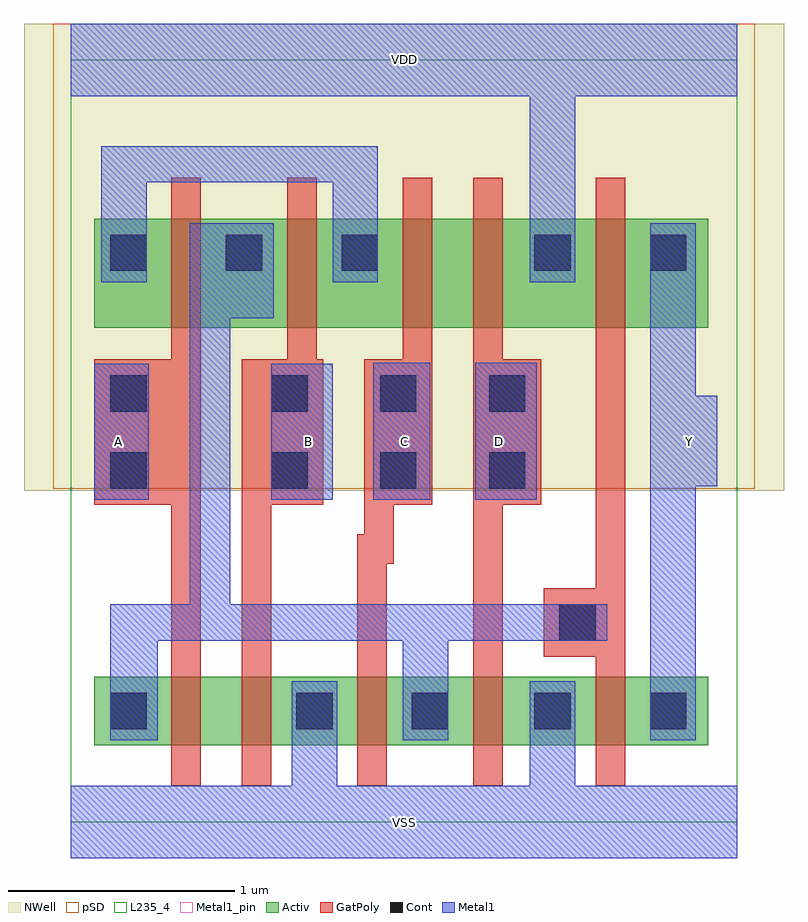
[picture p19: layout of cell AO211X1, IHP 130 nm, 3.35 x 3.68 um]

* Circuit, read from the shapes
.subckt AO211X1 A B C D VDD VSS Y
XM1 n1 A n2 VSUBS sg13_lv_nmos w=0.3u l=0.13u
XM2 VSS B n1 VSUBS sg13_lv_nmos w=0.3u l=0.13u
XM3 n2 C VSS VSUBS sg13_lv_nmos w=0.3u l=0.13u
XM4 VSS D n2 VSUBS sg13_lv_nmos w=0.3u l=0.13u
XM5 Y n2 VSS VSUBS sg13_lv_nmos w=0.3u l=0.13u
XM6 n2 A n3 n4 sg13_lv_pmos w=0.48u l=0.13u
XM7 n3 B n2 n4 sg13_lv_pmos w=0.48u l=0.13u
XM8 n5 C n3 n4 sg13_lv_pmos w=0.48u l=0.13u
XM9 VDD D n5 n4 sg13_lv_pmos w=0.48u l=0.13u
XM10 Y n2 VDD n4 sg13_lv_pmos w=0.48u l=0.13u
.ends

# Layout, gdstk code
import gdstk
lib = gdstk.Library(unit=1e-6, precision=1e-09)
def R(c, l, rs):  # rectangles x0, y0, x1, y1
    for r in rs: c.add(gdstk.rectangle(r[:2], r[2:], *l))
def A(c, l, x, y, w, h, nx, ny, dx, dy):  # array of equal rectangles
    R(c, l, [(x+i*dx, y+j*dy, x+i*dx+w, y+j*dy+h) for i in range(nx) for j in range(ny)])
def P(c, l, *ps):  # polygons
    for p in ps: c.add(gdstk.Polygon(p, *l))
Activ = (1, 0)
GatPoly = (5, 0)
Cont = (6, 0)
Metal1 = (8, 0)
Metal1_pin = (8, 2)
pSD = (14, 0)
NWell = (31, 0)
L235_4 = (235, 4)

ao211x1 = lib.new_cell('AO211X1')
R(ao211x1, Activ, [(0.105,0.34,2.81,0.64), (0.105,2.18,2.81,2.66)])
P(ao211x1, GatPoly, [(2.075,2.04),(1.905,2.04),(1.905,2.84),(1.775,2.84),(1.775,0.16),(1.905,0.16),(1.905,1.4),(2.075,1.4)],
  [(1.595,2.84),(1.465,2.84),(1.465,2.04),(1.295,2.04),(1.295,1.27),(1.265,1.27),(1.265,0.16),(1.395,0.16),(1.395,1.14),(1.425,1.14),(1.425,1.4),(1.595,1.4)],
  [(1.115,2.04),(1.085,2.04),(1.085,2.84),(0.955,2.84),(0.955,2.04),(0.755,2.04),(0.755,0.16),(0.885,0.16),(0.885,1.4),(1.115,1.4)],
  [(0.575,2.84),(0.445,2.84),(0.445,2.04),(0.105,2.04),(0.105,1.4),(0.445,1.4),(0.445,0.16),(0.575,0.16)],
  [(2.445,2.84),(2.315,2.84),(2.315,1.03),(2.085,1.03),(2.085,0.73),(2.315,0.73),(2.315,0.16),(2.445,0.16)])
A(ao211x1, Cont, 0.885, 1.47, 0.16, 0.16, 3, 2, 0.48, 0.34)
A(ao211x1, Cont, 0.175, 2.43, 0.16, 0.16, 3, 1, 0.51, 0)
R(ao211x1, Cont, [(0.175,0.41,0.335,0.57), (0.995,0.41,1.155,0.57), (1.505,0.41,1.665,0.57), (2.045,0.41,2.205,0.57), (2.555,0.41,2.715,0.57), (2.155,0.8,2.315,0.96), (0.175,1.47,0.335,1.63), (0.175,1.81,0.335,1.97), (2.045,2.43,2.205,2.59), (2.555,2.43,2.715,2.59)])
R(ao211x1, Metal1, [(0.105,1.42,0.345,2.02), (0.885,1.42,1.155,2.02), (1.335,1.42,1.585,2.025), (1.785,1.42,2.055,2.025)])
P(ao211x1, Metal1, [(2.94,0.16),(2.225,0.16),(2.225,0.62),(2.025,0.62),(2.025,0.16),(1.175,0.16),(1.175,0.62),(0.975,0.62),(0.975,0.16),(0,0.16),(0,-0.16),(2.94,-0.16)],
  [(2.85,1.88),(2.755,1.88),(2.755,2.64),(2.555,2.64),(2.555,0.36),(2.755,0.36),(2.755,1.48),(2.85,1.48)],
  [(2.94,3.52),(0,3.52),(0,3.2),(2.025,3.2),(2.025,2.38),(2.225,2.38),(2.225,3.2),(2.94,3.2)],
  [(1.355,2.98),(0.135,2.98),(0.135,2.38),(0.335,2.38),(0.335,2.82),(1.155,2.82),(1.155,2.38),(1.355,2.38)],
  [(2.365,0.96),(0.705,0.96),(0.705,2.22),(0.895,2.22),(0.895,2.64),(0.525,2.64),(0.525,0.96),(0.175,0.96),(0.175,0.36),(0.385,0.36),(0.385,0.8),(1.465,0.8),(1.465,0.36),(1.665,0.36),(1.665,0.8),(2.365,0.8)])
R(ao211x1, Metal1_pin, [(0,-0.16,2.94,0.16), (0.975,0.16,1.175,0.62), (2.555,0.36,2.755,2.64), (0.105,1.42,0.345,2.02), (0.885,1.42,1.155,2.02), (1.335,1.42,1.585,2.025), (1.785,1.42,2.055,2.025), (0,3.2,2.94,3.52)])
P(ao211x1, Metal1_pin, [(2.94,0.16),(2.225,0.16),(2.225,0.62),(2.025,0.62),(2.025,0.16),(0,0.16),(0,-0.16),(2.94,-0.16)],
  [(2.94,3.52),(0,3.52),(0,3.2),(2.025,3.2),(2.025,2.38),(2.225,2.38),(2.225,3.2),(2.94,3.2)],
  [(2.85,1.88),(2.755,1.88),(2.755,2.64),(2.555,2.64),(2.555,0.36),(2.755,0.36),(2.755,1.48),(2.85,1.48)])
R(ao211x1, pSD, [(-0.075,1.47,3.015,3.52)])
R(ao211x1, NWell, [(-0.205,1.46,3.145,3.52)])
R(ao211x1, L235_4, [(0,0,2.94,3.36)])
ao211x1.add(gdstk.Label('A', (0.21,1.68), layer=8, texttype=25))
ao211x1.add(gdstk.Label('C', (1.47,1.68), layer=8, texttype=25))
ao211x1.add(gdstk.Label('B', (1.05,1.68), layer=8, texttype=25))
ao211x1.add(gdstk.Label('VDD', (1.47,3.36), layer=8, texttype=25))
ao211x1.add(gdstk.Label('VSS', (1.47,0), layer=8, texttype=25))
ao211x1.add(gdstk.Label('Y', (2.73,1.68), layer=8, texttype=25))
ao211x1.add(gdstk.Label('D', (1.89,1.68), layer=8, texttype=25))

lib.write_gds('AO211X1.gds')
